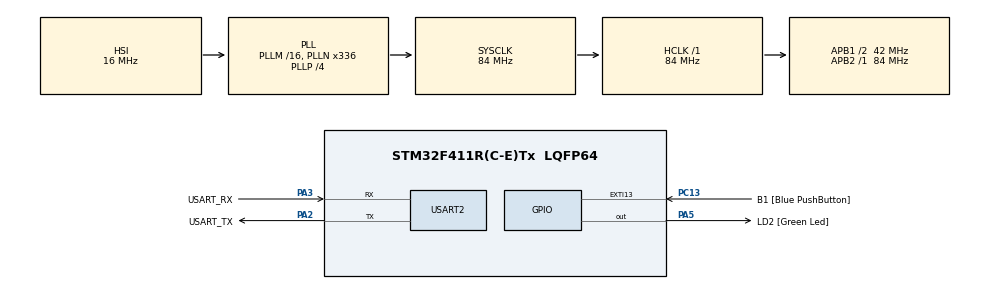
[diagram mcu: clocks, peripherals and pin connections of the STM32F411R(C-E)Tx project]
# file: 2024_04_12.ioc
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Mcu.Family=STM32F4
Mcu.Name=STM32F411R(C-E)Tx
Mcu.Package=LQFP64
NVIC.EXTI15_10_IRQn=true\:0\:0\:false\:false\:true\:true\:true\:true
NVIC.PriorityGroup=NVIC_PRIORITYGROUP_0
PA13.GPIO_Label=TMS
PA13.Mode=Serial_Wire
PA13.Signal=SYS_JTMS-SWDIO
PA14.GPIO_Label=TCK
PA14.Mode=Serial_Wire
PA14.Signal=SYS_JTCK-SWCLK
PA2.GPIO_Label=USART_TX
PA2.Mode=Asynchronous
PA2.Signal=USART2_TX
PA3.GPIO_Label=USART_RX
PA3.Mode=Asynchronous
PA3.Signal=USART2_RX
PA5.GPIO_Label=LD2 [Green Led]
PA5.Signal=GPIO_Output
PB3.GPIO_Label=SWO
PB3.Signal=SYS_JTDO-SWO
PC13-ANTI_TAMP.GPIO_Label=B1 [Blue PushButton]
PC13-ANTI_TAMP.GPIO_ModeDefaultEXTI=GPIO_MODE_IT_FALLING
PC13-ANTI_TAMP.Signal=GPXTI13
PC14-OSC32_IN.Mode=LSE-External-Oscillator
PC14-OSC32_IN.Signal=RCC_OSC32_IN
PC15-OSC32_OUT.Mode=LSE-External-Oscillator
PC15-OSC32_OUT.Signal=RCC_OSC32_OUT
PH0\ -\ OSC_IN.Mode=HSE-External-Clock-Source
PH0\ -\ OSC_IN.Signal=RCC_OSC_IN
PH1\ -\ OSC_OUT.Mode=HSE-External-Clock-Source
PH1\ -\ OSC_OUT.Signal=RCC_OSC_OUT
ProjectManager.HeapSize=0x200
ProjectManager.StackSize=0x400
ProjectManager.TargetToolchain=STM32CubeIDE
RCC.48MHZClocksFreq_Value=84000000
RCC.AHBFreq_Value=84000000
RCC.APB1CLKDivider=RCC_HCLK_DIV2
RCC.APB1Freq_Value=42000000
RCC.APB1TimFreq_Value=84000000
RCC.APB2Freq_Value=84000000
RCC.APB2TimFreq_Value=84000000
RCC.CortexFreq_Value=84000000
RCC.FLatency-AdvancedSettings=FLASH_LATENCY_2
RCC.HCLKFreq_Value=84000000
RCC.HSE_VALUE=8000000
RCC.HSI_VALUE=16000000
RCC.PLLN=336
RCC.PLLP=RCC_PLLP_DIV4
RCC.SYSCLKFreq_VALUE=84000000
RCC.SYSCLKSource=RCC_SYSCLKSOURCE_PLLCLK
RCC.VCOOutputFreq_Value=336000000
USART2.VirtualMode=VM_ASYNC
board=NUCLEO-F411RE

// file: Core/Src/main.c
/* USER CODE BEGIN Header */
/**
  ******************************************************************************
  * @file           : main.c
  * @brief          : Main program body
  ******************************************************************************
  * @attention
  *
  * Copyright (c) 2024 STMicroelectronics.
  * All rights reserved.
  *
  * This software is licensed under terms that can be found in the LICENSE file
  * in the root directory of this software component.
  * If no LICENSE file comes with this software, it is provided AS-IS.
  *
  ******************************************************************************
  */
/* USER CODE END Header */
#include "main.h"

UART_HandleTypeDef huart2;

void SystemClock_Config(void);
static void MX_GPIO_Init(void);
static void MX_USART2_UART_Init(void);

/* USER CODE BEGIN 0 */
int __io_putchar(int ch)	// 1 char output
{
	HAL_UART_Transmit(&huart2, &ch, 1, 10);
	return ch;
}
char Buf[100];	// Receive buffer from UART
int __io_getchar()
{
	//while(HAL_UART_Receive(&huart2, Buf, 1, 10) != HAL_OK);  // 1 Byte receive
	while(1)
	{
		int r = HAL_UART_Receive(&huart2, Buf, 1, 10);  // 1 Byte receive
		if(r == HAL_OK) break;
	}
	HAL_UART_Transmit(&huart2, Buf, 1, 10);  // Echo
	if(*Buf == '\r') HAL_UART_Transmit(&huart2, "\n", 1, 10);  // CRLF
	return *Buf;
}

/* USER CODE END 0 */

int main(void)
{

  /* MCU Configuration--------------------------------------------------------*/

  /* Reset of all peripherals, Initializes the Flash interface and the Systick. */
  HAL_Init();

  /* Configure the system clock */
  SystemClock_Config();

  /* Initialize all configured peripherals */
  MX_GPIO_Init();
  MX_USART2_UART_Init();
  /* USER CODE BEGIN 2 */

  printf("\033[2J");	// screen clear
  printf("\033[1;1H");	// Move cursor pos to (1,1)
  printf("Program Started....Press Blue button to continue\r\n");
  while(HAL_GPIO_ReadPin(B1_GPIO_Port, B1_Pin));  // (B1 == 0) if pressed0
  /* USER CODE END 2 */

  /* Infinite loop */
  /* USER CODE BEGIN WHILE */

  int cnt = 0;
  int mode = 1;	// If mode == 1 -> continue

  scanf("%d", &cnt);
  while (1)
  {
	  if (HAL_GPIO_ReadPin(B1_GPIO_Port, B1_Pin) == 0)
	  {
		  mode = !mode;
		  printf("Paused. Press Blue button to continue. \r\n");
	  }
	  /*
	  if (HAL_GPIO_ReadPin(B1_GPIO_Port, B1_Pin) == 0 && mode == 1)		// pause
	  {
		  mode = 0;	// If mode == 3 -> pause
	  }
	  else if(HAL_GPIO_ReadPin(B1_GPIO_Port, B1_Pin) == 0 && mode == 0)
	  {
		  mode = 1;	// end of pause mode & resume
	  }
	  */
	  if(mode == 1)
	  {
		  printf("count loop %4d \r\n", cnt++);
	  }
	  HAL_Delay(200);

    /* USER CODE END WHILE */

  }
}

void SystemClock_Config(void)
{
  RCC_OscInitTypeDef RCC_OscInitStruct = {0};
  RCC_ClkInitTypeDef RCC_ClkInitStruct = {0};

  /** Configure the main internal regulator output voltage
  */
  __HAL_RCC_PWR_CLK_ENABLE();
  __HAL_PWR_VOLTAGESCALING_CONFIG(PWR_REGULATOR_VOLTAGE_SCALE1);

  /** Initializes the RCC Oscillators according to the specified parameters
  * in the RCC_OscInitTypeDef structure.
  */
  RCC_OscInitStruct.OscillatorType = RCC_OSCILLATORTYPE_HSI;
  RCC_OscInitStruct.HSIState = RCC_HSI_ON;
  RCC_OscInitStruct.HSICalibrationValue = RCC_HSICALIBRATION_DEFAULT;
  RCC_OscInitStruct.PLL.PLLState = RCC_PLL_ON;
  RCC_OscInitStruct.PLL.PLLSource = RCC_PLLSOURCE_HSI;
  RCC_OscInitStruct.PLL.PLLM = 16;
  RCC_OscInitStruct.PLL.PLLN = 336;
  RCC_OscInitStruct.PLL.PLLP = RCC_PLLP_DIV4;
  RCC_OscInitStruct.PLL.PLLQ = 4;
  if (HAL_RCC_OscConfig(&RCC_OscInitStruct) != HAL_OK)
  {
    Error_Handler();
  }

  /** Initializes the CPU, AHB and APB buses clocks
  */
  RCC_ClkInitStruct.ClockType = RCC_CLOCKTYPE_HCLK|RCC_CLOCKTYPE_SYSCLK
                              |RCC_CLOCKTYPE_PCLK1|RCC_CLOCKTYPE_PCLK2;
  RCC_ClkInitStruct.SYSCLKSource = RCC_SYSCLKSOURCE_PLLCLK;
  RCC_ClkInitStruct.AHBCLKDivider = RCC_SYSCLK_DIV1;
  RCC_ClkInitStruct.APB1CLKDivider = RCC_HCLK_DIV2;
  RCC_ClkInitStruct.APB2CLKDivider = RCC_HCLK_DIV1;

  if (HAL_RCC_ClockConfig(&RCC_ClkInitStruct, FLASH_LATENCY_2) != HAL_OK)
  {
    Error_Handler();
  }
}

static void MX_USART2_UART_Init(void)
{

  huart2.Instance = USART2;
  huart2.Init.BaudRate = 115200;
  huart2.Init.WordLength = UART_WORDLENGTH_8B;
  huart2.Init.StopBits = UART_STOPBITS_1;
  huart2.Init.Parity = UART_PARITY_NONE;
  huart2.Init.Mode = UART_MODE_TX_RX;
  huart2.Init.HwFlowCtl = UART_HWCONTROL_NONE;
  huart2.Init.OverSampling = UART_OVERSAMPLING_16;
  if (HAL_UART_Init(&huart2) != HAL_OK)
  {
    Error_Handler();
  }

}

static void MX_GPIO_Init(void)
{
  GPIO_InitTypeDef GPIO_InitStruct = {0};

  /* GPIO Ports Clock Enable */
  __HAL_RCC_GPIOC_CLK_ENABLE();
  __HAL_RCC_GPIOH_CLK_ENABLE();
  __HAL_RCC_GPIOA_CLK_ENABLE();
  __HAL_RCC_GPIOB_CLK_ENABLE();

  /*Configure GPIO pin Output Level */
  HAL_GPIO_WritePin(LD2_GPIO_Port, LD2_Pin, GPIO_PIN_RESET);

  /*Configure GPIO pin : B1_Pin */
  GPIO_InitStruct.Pin = B1_Pin;
  GPIO_InitStruct.Mode = GPIO_MODE_IT_FALLING;
  GPIO_InitStruct.Pull = GPIO_NOPULL;
  HAL_GPIO_Init(B1_GPIO_Port, &GPIO_InitStruct);

  /*Configure GPIO pin : LD2_Pin */
  GPIO_InitStruct.Pin = LD2_Pin;
  GPIO_InitStruct.Mode = GPIO_MODE_OUTPUT_PP;
  GPIO_InitStruct.Pull = GPIO_NOPULL;
  GPIO_InitStruct.Speed = GPIO_SPEED_FREQ_LOW;
  HAL_GPIO_Init(LD2_GPIO_Port, &GPIO_InitStruct);

  /* EXTI interrupt init*/
  HAL_NVIC_SetPriority(EXTI15_10_IRQn, 0, 0);
  HAL_NVIC_EnableIRQ(EXTI15_10_IRQn);

}

void Error_Handler(void)
{
  __disable_irq();
  while (1)
  {
  }
}
